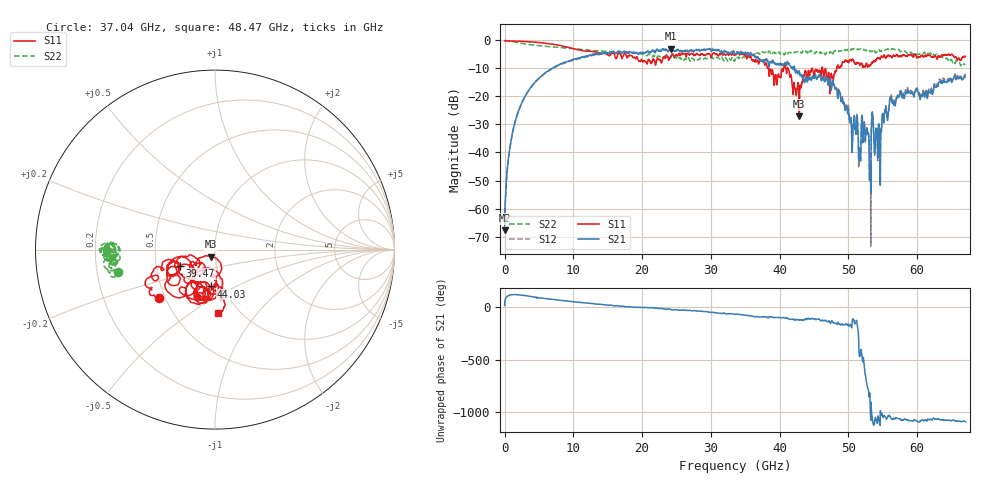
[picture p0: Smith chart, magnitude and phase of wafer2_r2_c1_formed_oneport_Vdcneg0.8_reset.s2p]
!Keysight Technologies,N5227A,US51270248,A.10.65.08
!Date: Tuesday, June 11, 2024 08:05:17
!Correction: S11(Full 2 Port(1,4))
!S41(Full 2 Port(1,4))
!S14(Full 2 Port(1,4))
!S44(Full 2 Port(1,4))
!S2P File: Measurements: S11, S41, S14, S44:
# Hz S  dB  R 50
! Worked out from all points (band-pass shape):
!   3201 points, 10 MHz to 67 GHz, reference 50 ohm
!   highest |S21| = -3.27 dB at 24.19 GHz (marker M1); lowest = -67.7 dB at 10 MHz (marker M2)
!   |S21| within 3 dB of the highest: 11.26 GHz to 36.4 GHz (25.14 GHz wide, 106 % of centre); 36.43331 GHz to 36.56211 GHz (128.8 MHz wide, 0.353 % of centre)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
!   lowest |S11| = -27.1 dB at 42.84 GHz (marker M3), VSWR 1.09, Z = 47.8 - j3.72 ohm
!   |S11| at or under -10 dB: 38.35 GHz to 40.59 GHz (2.236 GHz wide, 5.66 % of centre); 41.16 GHz to 46.15 GHz (4.986 GHz wide, 11.4 % of centre); 46.23 GHz to 48.32 GHz (2.087 GHz wide, 4.41 % of centre)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
!   |S22| runs from -9.3 to -0.3 dB; largest |S21 - S12| = 0.054
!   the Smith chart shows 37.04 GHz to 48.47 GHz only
!   S11 on the Smith chart (normalised r, x): 37.04 GHz: 0.46, -0.30; 39.47 GHz: 0.67, -0.13; 44.03 GHz: 0.88, -0.38; 48.47 GHz: 0.80, -0.65
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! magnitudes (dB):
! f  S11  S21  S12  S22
! 10 MHz  -0.5  -67.7  -61.6  -0.3
! 910.2 MHz  -0.5  -36.2  -36.5  -0.6
! 2.752 GHz  -0.7  -21.1  -21.3  -1.5
! 11.19 GHz  -3.9  -6.2  -6.6  -3.5
! 22.35 GHz  -6.9  -3.9  -3.9  -5.9
! 24.19 GHz  -5.9  -3.3  -3.3  -6.3
! 33.51 GHz  -5.5  -5.1  -5.0  -7.3
! 37.04 GHz  -7.7  -6.9  -7.0  -5.2
! 39.47 GHz  -13.4  -8.8  -8.8  -4.8
! 40.96 GHz  -11.1  -9.0  -8.9  -4.6
! 42.84 GHz  -27.1  -11.4  -11.2  -4.5
! 44.03 GHz  -13.7  -15.1  -14.4  -4.7
! 44.68 GHz  -10.2  -13.9  -13.4  -4.4
! 48.47 GHz  -9.1  -20.0  -19.9  -4.4
! 50.42 GHz  -7.5  -30.2  -28.9  -3.5
! 51.07 GHz  -8.6  -32.9  -32.3  -3.4
! 51.49 GHz  -8.4  -42.9  -45.4  -3.6
! 52.53 GHz  -9.0  -33.5  -32.9  -4.0
! 52.97 GHz  -9.2  -35.6  -34.9  -3.9
! 54.52 GHz  -6.5  -31.9  -32.3  -4.1
! 55.84 GHz  -5.6  -25.4  -24.8  -3.4
! 67 GHz  -6.0  -13.2  -12.8  -8.7
